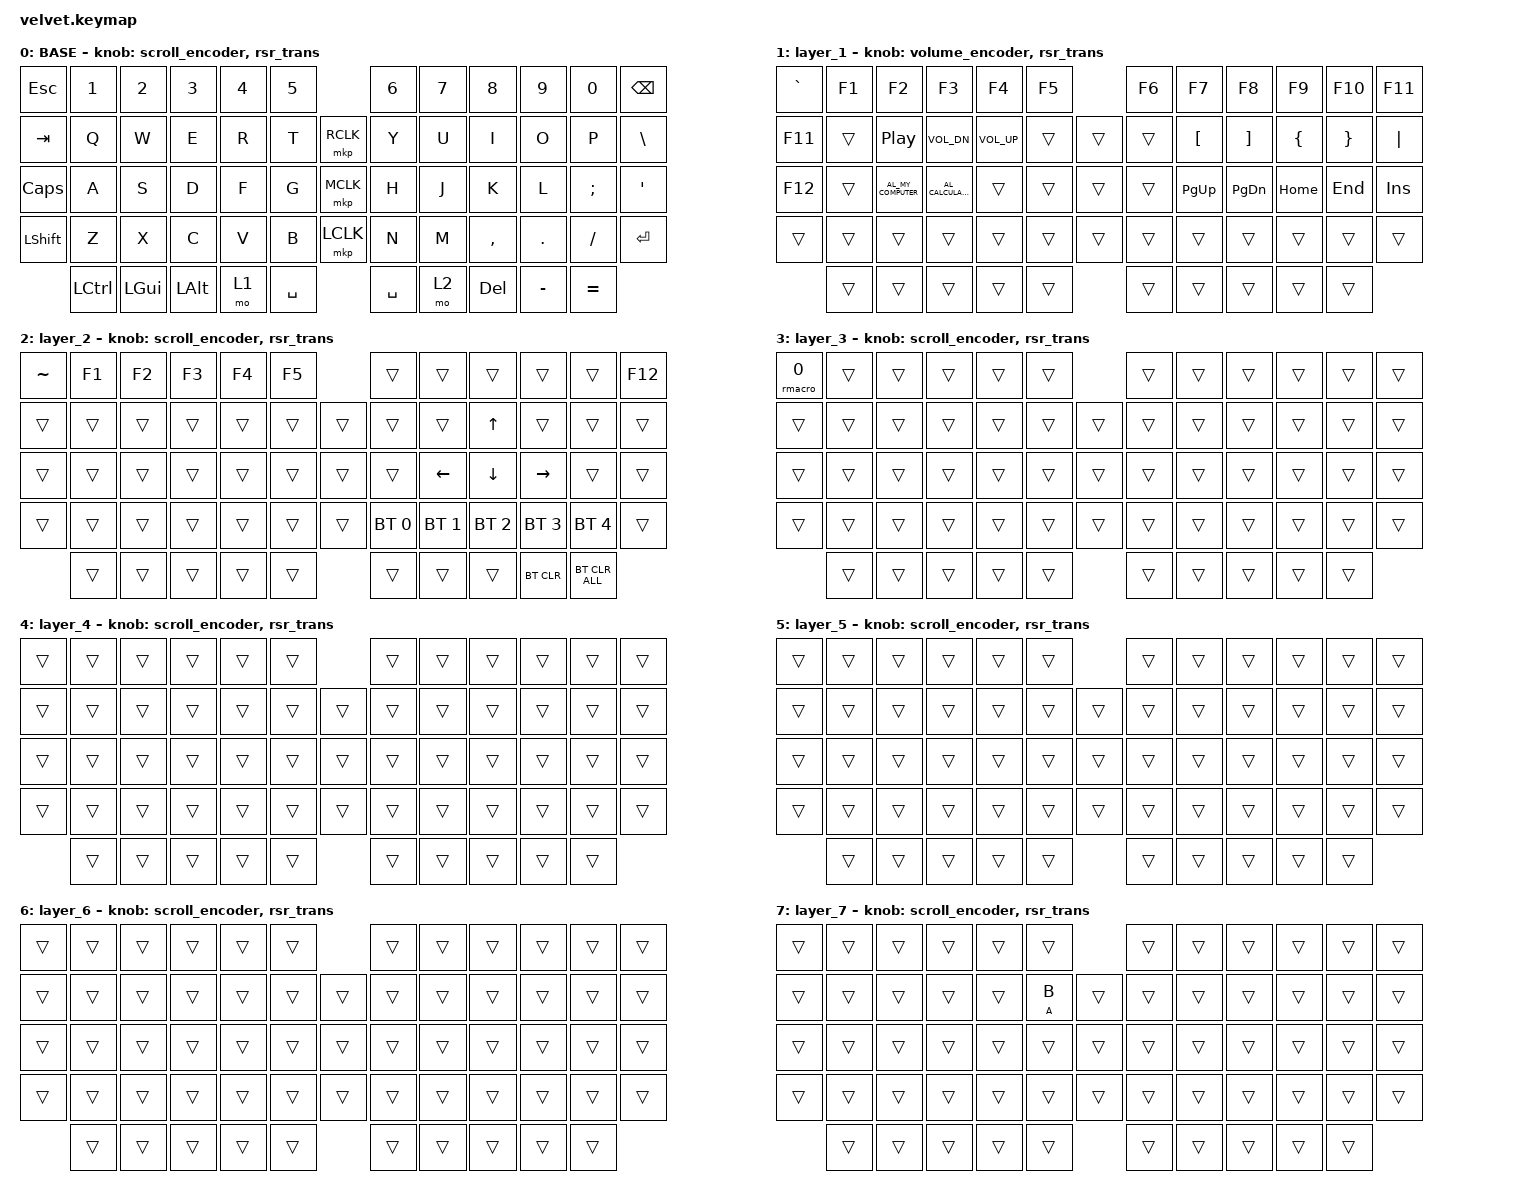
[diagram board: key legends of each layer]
#define BASE 0
#define LOWER 1
#define MOUSE_KEYS 2
#define MOUSE_TP 3
#define MOUSE_TP_SET 4

#include <zephyr/dt-bindings/input/input-event-codes.h>
#include <input/processors.dtsi>
#include <behaviors/runtime-sensor-rotate.dtsi>
#include <behaviors/runtime_macro.dtsi>
#include <behaviors.dtsi>
#include <dt-bindings/zmk/bt.h>
#include <dt-bindings/zmk/keys.h>
#include <dt-bindings/zmk/pointing.h>

&mmv_input_listener { input-processors = <&zip_xy_scaler 2 1>; };

&msc_input_listener { input-processors = <&zip_scroll_scaler 2 1>; };

&msc {
    acceleration-exponent = <0>;
    time-to-max-speed-ms = <0>;
    delay-ms = <0>;
    trigger-period-ms = <16>;
};

&mmv {
    time-to-max-speed-ms = <500>;
    acceleration-exponent = <1>;
    trigger-period-ms = <16>;
};

/ {
    scroll_encoder: scroll_encoder {
        compatible = "zmk,behavior-sensor-rotate";
        #sensor-binding-cells = <0>;
        bindings = <&msc MOVE_Y(100)>, <&msc MOVE_Y(-100)>;

        tap-ms = <20>;
    };

    volume_encoder: volume_encoder {
        compatible = "zmk,behavior-sensor-rotate";
        #sensor-binding-cells = <0>;
        bindings = <&kp C_VOL_UP>, <&kp C_VOL_DN>;

        tap-ms = <5>;
    };

    behaviors {
        ltq: ltq {
            compatible = "zmk,behavior-hold-tap";
            label = "LTQ";
            bindings = <&mo>, <&kp>;

            #binding-cells = <2>;
            tapping-term-ms = <200>;
            quick-tap-ms = <180>;
        };

        rsr_vol: rsr_vol {
            compatible = "zmk,behavior-runtime-sensor-rotate";
            #sensor-binding-cells = <0>;
            tap-ms = <5>;
            cw-binding = <&kp C_VOL_UP>;
            ccw-binding = <&kp C_VOL_DN>;
        };
    };

    combos {
        compatible = "zmk,combos";

        flash {
            bindings = <&bootloader>;
            key-positions = <0 11>;
        };
    };

    keymap {
        compatible = "zmk,keymap";

        BASE {
            bindings = <
&kp ESC    &kp N1     &kp N2    &kp N3        &kp N4  &kp N5                &kp NUMBER_6  &kp N7  &kp N8      &kp N9      &kp N0     &kp BACKSPACE
&kp TAB    &kp Q      &kp W     &kp E         &kp R   &kp T      &mkp RCLK  &kp Y         &kp U   &kp I       &kp O       &kp P      &kp BSLH
&kp CAPS   &kp A      &kp S     &kp D         &kp F   &kp G      &mkp MCLK  &kp H         &kp J   &kp K       &kp L       &kp SEMI   &kp APOS
&kp LSHFT  &kp Z      &kp X     &kp C         &kp V   &kp B      &mkp LCLK  &kp N         &kp M   &kp COMMA   &kp PERIOD  &kp SLASH  &kp ENTER
           &kp LCTRL  &kp LGUI  &kp LEFT_ALT  &mo 1   &kp SPACE             &kp SPACE     &mo 2   &kp DELETE  &kp MINUS   &kp EQUAL
            >;

            label = "BASE";
            sensor-bindings = <&scroll_encoder &rsr_trans>;
        };

        layer_1 {
            bindings = <
&kp GRAVE  &kp F1  &kp F2                &kp F3               &kp F4           &kp F5          &kp F6  &kp F7            &kp F8             &kp F9          &kp F10          &kp F11
&kp F11    &trans  &kp C_PLAY_PAUSE      &kp C_VOL_DN         &kp C_VOLUME_UP  &trans  &trans  &trans  &kp LEFT_BRACKET  &kp RIGHT_BRACKET  &kp LEFT_BRACE  &kp RIGHT_BRACE  &kp PIPE
&kp F12    &trans  &kp C_AL_MY_COMPUTER  &kp C_AL_CALCULATOR  &trans           &trans  &trans  &trans  &kp PAGE_UP       &kp PAGE_DOWN      &kp HOME        &kp END          &kp INSERT
&trans     &trans  &trans                &trans               &trans           &trans  &trans  &trans  &trans            &trans             &trans          &trans           &trans
           &trans  &trans                &trans               &trans           &trans          &trans  &trans            &trans             &trans          &trans
            >;

            sensor-bindings = <&volume_encoder &rsr_trans>;
        };

        layer_2 {
            bindings = <
&kp TILDE  &kp F1  &kp F2  &kp F3  &kp F4  &kp F5          &trans        &trans        &trans        &trans        &trans          &kp F12
&trans     &trans  &trans  &trans  &trans  &trans  &trans  &trans        &trans        &kp UP_ARROW  &trans        &trans          &trans
&trans     &trans  &trans  &trans  &trans  &trans  &trans  &trans        &kp LEFT      &kp DOWN      &kp RIGHT     &trans          &trans
&trans     &trans  &trans  &trans  &trans  &trans  &trans  &bt BT_SEL 0  &bt BT_SEL 1  &bt BT_SEL 2  &bt BT_SEL 3  &bt BT_SEL 4    &trans
           &trans  &trans  &trans  &trans  &trans          &trans        &trans        &trans        &bt BT_CLR    &bt BT_CLR_ALL
            >;

            sensor-bindings = <&scroll_encoder &rsr_trans>;
        };

        layer_3 {
            bindings = <
&rmacro 0  &trans  &trans  &trans  &trans  &trans          &trans  &trans  &trans  &trans  &trans  &trans
&trans     &trans  &trans  &trans  &trans  &trans  &trans  &trans  &trans  &trans  &trans  &trans  &trans
&trans     &trans  &trans  &trans  &trans  &trans  &trans  &trans  &trans  &trans  &trans  &trans  &trans
&trans     &trans  &trans  &trans  &trans  &trans  &trans  &trans  &trans  &trans  &trans  &trans  &trans
           &trans  &trans  &trans  &trans  &trans          &trans  &trans  &trans  &trans  &trans
            >;

            sensor-bindings = <&scroll_encoder &rsr_trans>;
        };

        layer_4 {
            bindings = <
&trans  &trans  &trans  &trans  &trans  &trans          &trans  &trans  &trans  &trans  &trans  &trans
&trans  &trans  &trans  &trans  &trans  &trans  &trans  &trans  &trans  &trans  &trans  &trans  &trans
&trans  &trans  &trans  &trans  &trans  &trans  &trans  &trans  &trans  &trans  &trans  &trans  &trans
&trans  &trans  &trans  &trans  &trans  &trans  &trans  &trans  &trans  &trans  &trans  &trans  &trans
        &trans  &trans  &trans  &trans  &trans          &trans  &trans  &trans  &trans  &trans
            >;

            sensor-bindings = <&scroll_encoder &rsr_trans>;
        };

        layer_5 {
            bindings = <
&trans  &trans  &trans  &trans  &trans  &trans          &trans  &trans  &trans  &trans  &trans  &trans
&trans  &trans  &trans  &trans  &trans  &trans  &trans  &trans  &trans  &trans  &trans  &trans  &trans
&trans  &trans  &trans  &trans  &trans  &trans  &trans  &trans  &trans  &trans  &trans  &trans  &trans
&trans  &trans  &trans  &trans  &trans  &trans  &trans  &trans  &trans  &trans  &trans  &trans  &trans
        &trans  &trans  &trans  &trans  &trans          &trans  &trans  &trans  &trans  &trans
            >;

            sensor-bindings = <&scroll_encoder &rsr_trans>;
        };

        layer_6 {
            bindings = <
&trans  &trans  &trans  &trans  &trans  &trans          &trans  &trans  &trans  &trans  &trans  &trans
&trans  &trans  &trans  &trans  &trans  &trans  &trans  &trans  &trans  &trans  &trans  &trans  &trans
&trans  &trans  &trans  &trans  &trans  &trans  &trans  &trans  &trans  &trans  &trans  &trans  &trans
&trans  &trans  &trans  &trans  &trans  &trans  &trans  &trans  &trans  &trans  &trans  &trans  &trans
        &trans  &trans  &trans  &trans  &trans          &trans  &trans  &trans  &trans  &trans
            >;

            sensor-bindings = <&scroll_encoder &rsr_trans>;
        };

        layer_7 {
            bindings = <
&trans  &trans  &trans  &trans  &trans  &trans           &trans  &trans  &trans  &trans  &trans  &trans
&trans  &trans  &trans  &trans  &trans  &mt A B  &trans  &trans  &trans  &trans  &trans  &trans  &trans
&trans  &trans  &trans  &trans  &trans  &trans   &trans  &trans  &trans  &trans  &trans  &trans  &trans
&trans  &trans  &trans  &trans  &trans  &trans   &trans  &trans  &trans  &trans  &trans  &trans  &trans
        &trans  &trans  &trans  &trans  &trans           &trans  &trans  &trans  &trans  &trans
            >;

            sensor-bindings = <&scroll_encoder &rsr_trans>;
        };
    };
};
